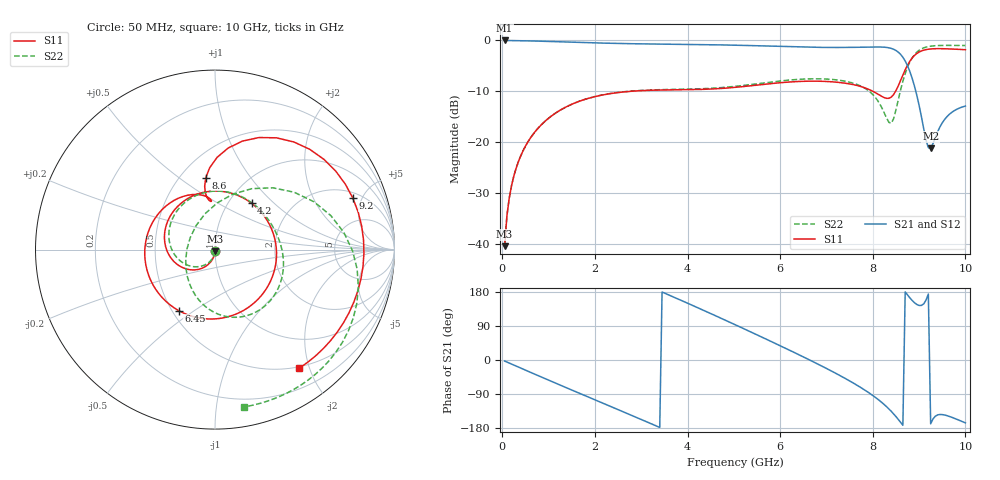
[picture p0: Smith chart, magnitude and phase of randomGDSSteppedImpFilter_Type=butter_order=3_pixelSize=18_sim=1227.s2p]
! freq	dB(S11)	phase(S11)	dB(S12)	phase(S12)
!  dB(S21)	phase(S21)	dB(S22)	phase(S22)
!S-par simulation data
#  GHz  S  DB  R 50
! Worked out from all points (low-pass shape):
!   200 points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, 50 MHz to 10 GHz, reference 50 ohm
!   highest |S21| = 0.00 dB at 50 MHz (marker M1); lowest = -21.2 dB at 9.25 GHz (marker M2)
!   |S21| within 3 dB of the highest: start of sweep to 8.624 GHz
!   lowest |S11| = -40.5 dB at 50 MHz (marker M3), VSWR 1.02, Z = 50 - j0.947 ohm
!   |S11| at or under -10 dB: start of sweep to 2.784 GHz; 8.001 GHz to 8.493 GHz (492.2 MHz wide, 5.97 % of centre)
!   |S22| runs from -40.5 to -1.0 dB; largest |S21 - S12| = 0
!   S11 on the Smith chart (normalised r, x): 50 MHz: 1.00, -0.02; 4.2 GHz: 1.27, +0.74; 6.45 GHz: 0.54, -0.43; 8.6 GHz: 0.66, +0.63; 9.2 GHz: 2.40, +4.21; 10 GHz: 0.48, -1.84
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0.05  -40.46 -91.8  -0.00 -2.7  -0.00 -2.7  -40.47 -92.3
0.2  -28.56 -99.7  -0.02 -10.8  -0.02 -10.8  -28.56 -101.7
0.5  -20.80 -114.7  -0.07 -26.7  -0.07 -26.7  -20.80 -119.8
1.15  -14.29 -146.1  -0.24 -61.0  -0.24 -61.0  -14.29 -157.5
1.75  -11.70 -174.5  -0.41 -92.2  -0.41 -92.2  -11.68 168.5
2.65  -10.10 141.7  -0.62 -138.7  -0.62 -138.7  -10.07 119.2
3.4  -9.76 101.6  -0.72 -178.0  -0.72 -178.0  -9.69 81.0
4.2  -9.66 51.8  -0.81 139.1  -0.81 139.1  -9.54 45.5
5.05  -9.21 -9.9  -0.94 91.9  -0.94 91.9  -9.01 13.9
5.7  -8.59 -60.6  -1.10 54.9  -1.10 54.9  -8.29 -8.5
6.45  -8.05 -120.9  -1.30 11.2  -1.30 11.2  -7.63 -34.9
6.7  -8.01 -141.7  -1.35 -3.8  -1.35 -3.8  -7.55 -44.0
7.25  -8.24 170.4  -1.38 -38.3  -1.38 -38.3  -7.80 -65.0
7.75  -9.09 125.4  -1.33 -73.3  -1.33 -73.3  -9.01 -89.1
8.1  -10.50 99.0  -1.28 -102.7  -1.28 -102.7  -11.76 -119.3
8.35  -11.38 95.4  -1.46 -129.3  -1.46 -129.3  -16.13 178.6
8.6  -7.87 97.3  -2.73 -164.3  -2.73 -164.3  -9.75 72.0
8.9  -2.96 61.1  -8.97 151.3  -8.97 151.3  -2.80 7.6
9.2  -1.73 20.5  -21.10 174.1  -21.10 174.1  -1.21 -31.3
9.25  -1.68 14.7  -21.22 -168.4  -21.22 -168.4  -1.13 -36.0
9.55  -1.63 -16.1  -15.56 -145.1  -15.56 -145.1  -0.98 -57.6
10  -1.83 -54.5  -12.90 -166.0  -12.90 -166.0  -1.00 -79.5
